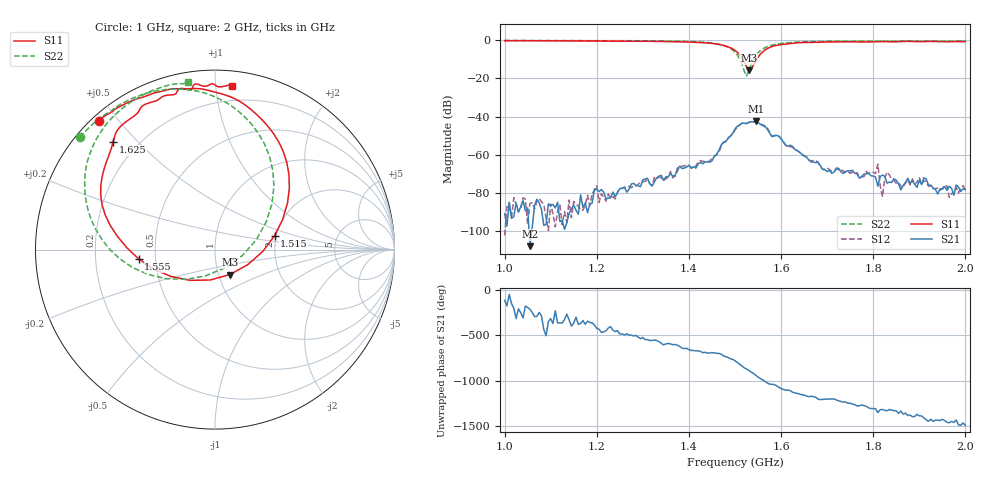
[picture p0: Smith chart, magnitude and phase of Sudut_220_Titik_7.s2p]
# Hz S RI R 50
! CMT, C1220, 16058040, 17.2.0/1
! Date: 14/08/2018 12:15:16
! Data: Format (Calibration Info)
! Freq  S11: Re/Im (F2)  S21: Re/Im (F2)  S12: Re/Im (F2)  S22: Re/Im (F2)
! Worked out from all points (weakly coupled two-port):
!   201 points, 1 GHz to 2 GHz, reference 50 ohm
!   highest |S21| = -42.25 dB at 1.545 GHz (marker M1); lowest = -107.7 dB at 1.055 GHz (marker M2)
!   lowest |S11| = -15.8 dB at 1.53 GHz (marker M3), VSWR 1.39, Z = 56.7 - j16.2 ohm
!   |S11| at or under -10 dB: 1.517 GHz to 1.547 GHz (30.6 MHz wide, 2 % of centre)
!   |S22| runs from -18.7 to -0.2 dB; largest |S21 - S12| = 0.00043
!   S11 on the Smith chart (normalised r, x): 1 GHz: 0.02, +0.44; 1.515 GHz: 1.95, +0.34; 1.555 GHz: 0.40, -0.05; 1.625 GHz: 0.11, +0.43; 2 GHz: 0.09, +1.11
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1e9  -0.6478 0.7144  -1.34e-05 -2.58e-05  -1.54e-06 7.71e-06  -0.7536 0.6248
1.055e9  -0.6008 0.7521  -3.33e-06 2.4e-06  5.16e-06 5.32e-05  -0.7156 0.6657
1.17e9  -0.4791 0.8227  3.95e-05 1.55e-05  3.47e-05 -8.17e-06  -0.6167 0.7507
1.265e9  -0.3409 0.8718  -6.02e-05 -8.71e-05  -5.43e-05 -0.000139  -0.5156 0.8161
1.335e9  -0.221 0.8962  -0.000241 0.00014  -0.000225 0.000141  -0.4005 0.8652
1.45e9  0.1744 0.8011  0.000604 0.000345  0.000727 0.000318  0.0231 0.8401
1.5e9  0.4144 0.3446  0.00243 -0.00411  0.00226 -0.00384  0.3284 0.3523
1.515e9  0.3317 0.0775  -0.00296 -0.00604  -0.0028 -0.00614  0.23 0.0543
1.53e9  0.0837 -0.1387  -0.00675 -0.00195  -0.00676 -0.00204  -0.0522 -0.1464
1.545e9  -0.2456 -0.1495  -0.00606 0.00478  -0.00608 0.00454  -0.3729 -0.1386
1.555e9  -0.4252 -0.0518  -0.00161 0.0061  -0.00193 0.00615  -0.5296 -0.0523
1.625e9  -0.5675 0.6004  0.00119 -0.00116  0.00114 -0.00108  -0.7017 0.5209
1.67e9  -0.4484 0.7459  -3.44e-05 -0.00065  -6.76e-05 -0.000705  -0.6252 0.6723
1.775e9  -0.2366 0.8624  -0.000273 1.96e-05  -0.000259 4.08e-05  -0.4611 0.8276
1.81e9  -0.196 0.896  -5.78e-06 0.000151  -0.000215 0.000531  -0.411 0.8571
1.82e9  -0.1777 0.8974  -0.000173 0.000241  -2.95e-05 7.46e-05  -0.3969 0.8641
1.83e9  -0.1549 0.8928  -6.82e-05 0.00017  -0.00021 0.000287  -0.3836 0.8705
1.835e9  -0.1447 0.8901  -0.000114 0.000156  -0.00012 0.000273  -0.3768 0.874
1.865e9  -0.1178 0.9177  3.94e-05 0.000154  9.76e-05 0.000103  -0.3353 0.8913
1.9e9  -0.0566 0.9097  0.000121 0.000182  0.000131 0.000216  -0.2853 0.9086
1.94e9  -0.00122 0.9181  9.37e-05 1.44e-05  0.000134 9.1e-06  -0.2285 0.9222
2e9  0.0957 0.9138  8.15e-05 -9.43e-05  9.42e-05 -7.65e-05  -0.1527 0.9329
